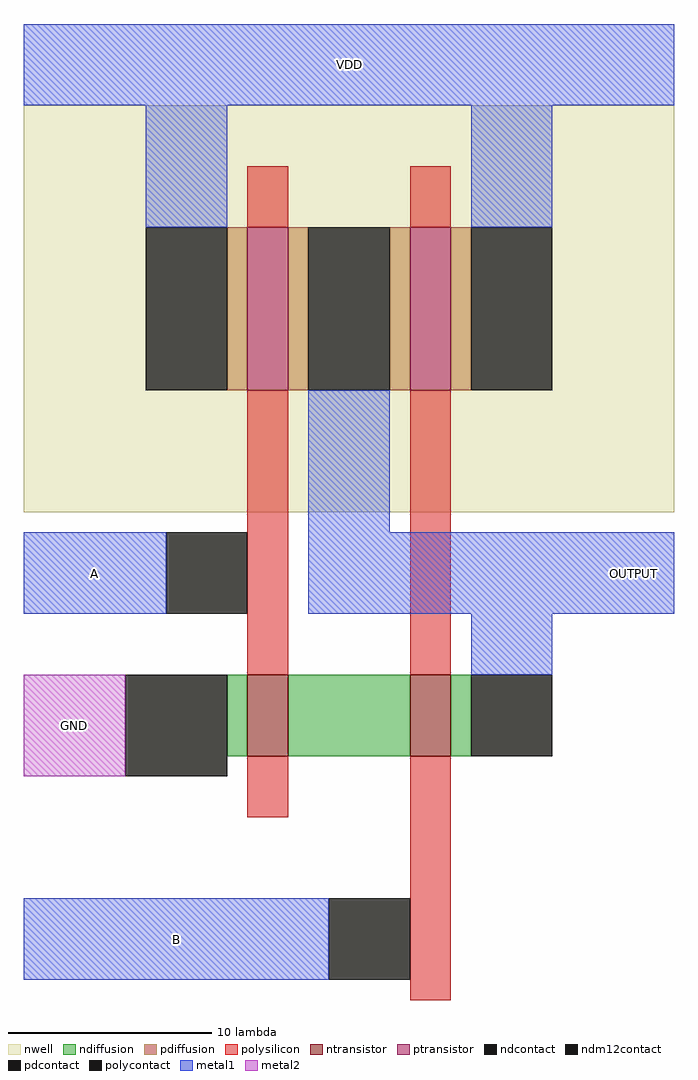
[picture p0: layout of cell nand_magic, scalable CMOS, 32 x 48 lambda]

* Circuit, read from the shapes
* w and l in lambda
.subckt nand_magic A B GND OUTPUT VDD
M1 n1 A GND VSUBS nfet w=4 l=2
M2 OUTPUT B n1 VSUBS nfet w=4 l=2
M3 OUTPUT A VDD n2 pfet w=8 l=2
M4 VDD B OUTPUT n2 pfet w=8 l=2
.ends

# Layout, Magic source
magic
tech scmos
<< nwell >>
rect 0 0 32 20
<< ntransistor >>
rect 11 -12 13 -8
rect 19 -12 21 -8
<< ptransistor >>
rect 11 6 13 14
rect 19 6 21 14
<< ndiffusion >>
rect 10 -12 11 -8
rect 13 -12 19 -8
rect 21 -12 22 -8
<< pdiffusion >>
rect 10 6 11 14
rect 13 6 14 14
rect 18 6 19 14
rect 21 6 22 14
<< ndcontact >>
rect 22 -12 26 -8
<< pdcontact >>
rect 6 6 10 14
rect 14 6 18 14
rect 22 6 26 14
<< polysilicon >>
rect 11 14 13 17
rect 19 14 21 17
rect 11 -8 13 6
rect 19 -8 21 6
rect 11 -15 13 -12
rect 19 -24 21 -12
<< polycontact >>
rect 7 -5 11 -1
rect 15 -23 19 -19
<< metal1 >>
rect 0 20 32 24
rect 6 14 10 20
rect 22 14 26 20
rect 14 -1 18 6
rect 0 -5 7 -1
rect 14 -5 32 -1
rect 22 -8 26 -5
rect 0 -23 15 -19
<< ndm12contact >>
rect 5 -13 10 -8
<< metal2 >>
rect 0 -13 5 -8
<< labels >>
rlabel metal1 0 20 32 24 5 VDD
rlabel metal1 28 -5 32 -1 7 OUTPUT
rlabel metal1 0 -23 15 -19 1 B
rlabel metal2 0 -13 5 -8 3 GND
rlabel metal1 0 -5 7 -1 3 A
<< end >>
